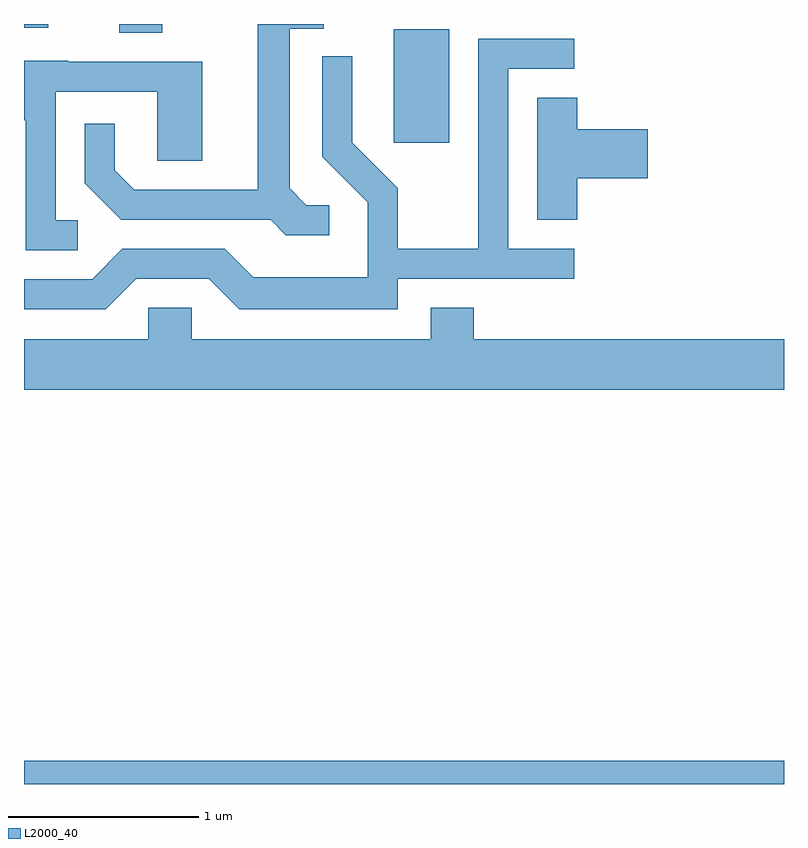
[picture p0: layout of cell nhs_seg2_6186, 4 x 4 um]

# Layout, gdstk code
import gdstk
lib = gdstk.Library(unit=1e-6, precision=1e-09)
def R(c, l, rs):  # rectangles x0, y0, x1, y1
    for r in rs: c.add(gdstk.rectangle(r[:2], r[2:], *l))
def P(c, l, *ps):  # polygons
    for p in ps: c.add(gdstk.Polygon(p, *l))
L2000_40 = (2000, 40)

nhs_seg2_6186 = lib.new_cell('nhs_seg2_6186')
R(nhs_seg2_6186, L2000_40, [(367.611,1041.802,371.611,1041.924), (369.556,1045.176,369.849,1045.774), (368.111,1045.756,368.339,1045.802), (367.611,1045.781,367.738,1045.802)])
P(nhs_seg2_6186, L2000_40, [(369.218,1044.849),(369.097,1044.849),(369.009,1044.937),(369.009,1045.776),(369.188,1045.776),(369.188,1045.802),(368.841,1045.802),(368.841,1044.929),(368.192,1044.929),(368.089,1045.032),(368.089,1045.277),(367.931,1045.277),(367.931,1044.964),(368.124,1044.771),(368.909,1044.771),(368.989,1044.691),(369.218,1044.691)],
  [(368.202,1044.461),(368.584,1044.461),(368.744,1044.301),(369.579,1044.301),(369.579,1044.461),(370.508,1044.461),(370.508,1044.619),(370.159,1044.619),(370.159,1045.566),(370.508,1045.566),(370.508,1045.724),(370.001,1045.724),(370.001,1044.619),(369.579,1044.619),(369.579,1044.937),(369.339,1045.177),(369.339,1045.632),(369.181,1045.632),(369.181,1045.103),(369.421,1044.863),(369.421,1044.469),(368.817,1044.469),(368.667,1044.619),(368.129,1044.619),(367.969,1044.459),(367.611,1044.459),(367.611,1044.301),(368.042,1044.301)],
  [(367.893,1044.769),(367.779,1044.769),(367.779,1045.446),(368.311,1045.446),(368.311,1045.081),(368.549,1045.081),(368.549,1045.604),(367.845,1045.604),(367.845,1045.609),(367.611,1045.609),(367.611,1045.296),(367.621,1045.296),(367.621,1044.611),(367.893,1044.611)],
  [(370.524,1044.991),(370.894,1044.991),(370.894,1045.249),(370.524,1045.249),(370.524,1045.414),(370.311,1045.414),(370.311,1044.771),(370.524,1044.771)],
  [(371.611,1044.144),(369.979,1044.144),(369.979,1044.309),(369.751,1044.309),(369.751,1044.144),(368.494,1044.144),(368.494,1044.309),(368.266,1044.309),(368.266,1044.144),(367.611,1044.144),(367.611,1043.876),(371.611,1043.876)])

lib.write_gds('nhs_seg2_6186.gds')
